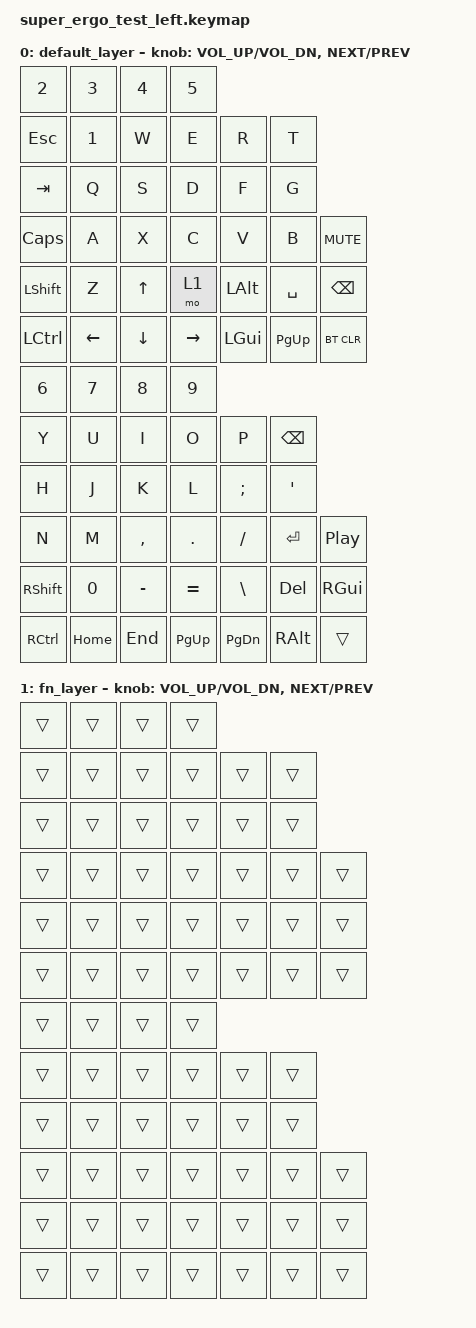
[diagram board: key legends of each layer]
#include <behaviors.dtsi>
#include <dt-bindings/zmk/keys.h>
#include <dt-bindings/zmk/bt.h>

/ {
    keymap {
        compatible = "zmk,keymap";

        default_layer {
            bindings = <
            // ---- Left half ----
            // Row 0: 4 keys
                &kp N2      &kp N3      &kp N4      &kp N5
            // Row 1: 6 keys
                &kp ESC     &kp N1      &kp W       &kp E       &kp R       &kp T
            // Row 2: 6 keys
                &kp TAB     &kp Q       &kp S       &kp D       &kp F       &kp G
            // Row 3: 6 keys + encoder button
                &kp CAPS    &kp A       &kp X       &kp C       &kp V       &kp B       &kp C_MUTE
            // Row 4: 7 keys
                &kp LSHFT   &kp Z       &kp UP      &mo 1       &kp LALT    &kp SPACE   &kp BSPC
            // Row 5: 7 keys
                &kp LCTRL   &kp LEFT    &kp DOWN    &kp RIGHT   &kp LGUI    &kp PG_UP   &bt BT_CLR

            // ---- Right half ----
            // Row 0: 4 keys
                &kp N6      &kp N7      &kp N8      &kp N9
            // Row 1: 6 keys
                &kp Y       &kp U       &kp I       &kp O       &kp P       &kp BSPC
            // Row 2: 6 keys
                &kp H       &kp J       &kp K       &kp L       &kp SEMI    &kp SQT
            // Row 3: 6 keys + encoder button
                &kp N       &kp M       &kp COMMA   &kp DOT     &kp FSLH    &kp RET     &kp C_PP
            // Row 4: 7 keys
                &kp RSHFT   &kp N0      &kp MINUS   &kp EQUAL   &kp BSLH    &kp DEL     &kp RGUI
            // Row 5: 7 keys
                &kp RCTRL   &kp HOME    &kp END     &kp PG_UP   &kp PG_DN   &kp RALT    &trans
            >;

            // Left encoder: volume, Right encoder: track skip
            sensor-bindings = <&inc_dec_kp C_VOL_UP C_VOL_DN &inc_dec_kp C_NEXT C_PREV>;
        };

        fn_layer {
            bindings = <
            // ---- Left half ----
            // Row 0
                &trans  &trans  &trans  &trans
            // Row 1
                &trans  &trans  &trans  &trans  &trans  &trans
            // Row 2
                &trans  &trans  &trans  &trans  &trans  &trans
            // Row 3
                &trans  &trans  &trans  &trans  &trans  &trans  &trans
            // Row 4
                &trans  &trans  &trans  &trans  &trans  &trans  &trans
            // Row 5
                &trans  &trans  &trans  &trans  &trans  &trans  &trans

            // ---- Right half ----
            // Row 0
                &trans  &trans  &trans  &trans
            // Row 1
                &trans  &trans  &trans  &trans  &trans  &trans
            // Row 2
                &trans  &trans  &trans  &trans  &trans  &trans
            // Row 3
                &trans  &trans  &trans  &trans  &trans  &trans  &trans
            // Row 4
                &trans  &trans  &trans  &trans  &trans  &trans  &trans
            // Row 5
                &trans  &trans  &trans  &trans  &trans  &trans  &trans
            >;

            sensor-bindings = <&inc_dec_kp C_VOL_UP C_VOL_DN &inc_dec_kp C_NEXT C_PREV>;
        };
    };
};
